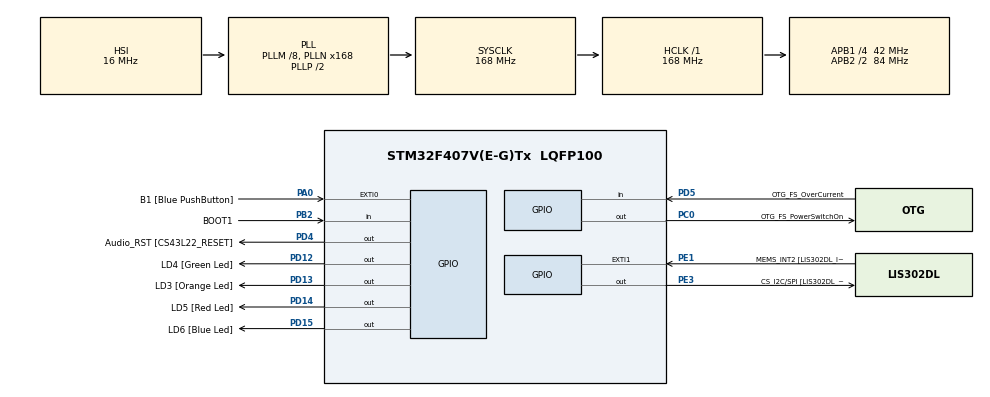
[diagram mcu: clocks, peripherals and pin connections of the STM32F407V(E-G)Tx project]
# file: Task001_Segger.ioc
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Mcu.Family=STM32F4
Mcu.Name=STM32F407V(E-G)Tx
Mcu.Package=LQFP100
NVIC.PriorityGroup=NVIC_PRIORITYGROUP_4
NVIC.TIM6_DAC_IRQn=true\:0\:0\:false\:false\:true\:false\:true\:true
NVIC.TimeBase=TIM6_DAC_IRQn
NVIC.TimeBaseIP=TIM6
PA0-WKUP.GPIO_Label=B1 [Blue PushButton]
PA0-WKUP.Signal=GPXTI0
PA10.GPIO_Label=OTG_FS_ID
PA10.GPIO_Mode=GPIO_MODE_AF_PP
PA10.GPIO_PuPd=GPIO_NOPULL
PA10.GPIO_Speed=GPIO_SPEED_FREQ_LOW
PA10.Signal=USB_OTG_FS_ID
PA11.GPIO_Label=OTG_FS_DM
PA11.GPIO_Mode=GPIO_MODE_AF_PP
PA11.GPIO_PuPd=GPIO_NOPULL
PA11.GPIO_Speed=GPIO_SPEED_FREQ_LOW
PA11.Signal=USB_OTG_FS_DM
PA12.GPIO_Label=OTG_FS_DP
PA12.GPIO_Mode=GPIO_MODE_AF_PP
PA12.GPIO_PuPd=GPIO_NOPULL
PA12.GPIO_Speed=GPIO_SPEED_FREQ_LOW
PA12.Signal=USB_OTG_FS_DP
PA13.GPIO_Label=SWDIO
PA13.Signal=SYS_JTMS-SWDIO
PA14.GPIO_Label=SWCLK
PA14.Signal=SYS_JTCK-SWCLK
PA4.GPIO_Label=I2S3_WS [CS43L22_LRCK]
PA4.GPIO_Mode=GPIO_MODE_AF_PP
PA4.GPIO_PuPd=GPIO_NOPULL
PA4.GPIO_Speed=GPIO_SPEED_FREQ_LOW
PA4.Signal=I2S3_WS
PA5.GPIO_Label=SPI1_SCK [LIS302DL_SCL/SPC]
PA5.GPIO_Mode=GPIO_MODE_AF_PP
PA5.GPIO_PuPd=GPIO_NOPULL
PA5.GPIO_Speed=GPIO_SPEED_FREQ_LOW
PA5.Signal=SPI1_SCK
PA6.GPIO_Label=SPI1_MISO [LIS302DL_SDO]
PA6.GPIO_Mode=GPIO_MODE_AF_PP
PA6.GPIO_PuPd=GPIO_NOPULL
PA6.GPIO_Speed=GPIO_SPEED_FREQ_LOW
PA6.Signal=SPI1_MISO
PA7.GPIO_Label=SPI1_MOSI [LIS302DL_SDA/SDI/SDO]
PA7.GPIO_Mode=GPIO_MODE_AF_PP
PA7.GPIO_PuPd=GPIO_NOPULL
PA7.GPIO_Speed=GPIO_SPEED_FREQ_LOW
PA7.Signal=SPI1_MOSI
PA9.GPIO_Label=VBUS_FS
PA9.GPIO_Mode=GPIO_MODE_INPUT
PA9.GPIO_PuPd=GPIO_NOPULL
PA9.Signal=USB_OTG_FS_VBUS
PB10.GPIO_Label=CLK_IN [MP45DT02_CLK]
PB10.GPIO_Mode=GPIO_MODE_AF_PP
PB10.GPIO_PuPd=GPIO_NOPULL
PB10.GPIO_Speed=GPIO_SPEED_FREQ_LOW
PB10.Signal=I2S2_CK
PB2.GPIO_Label=BOOT1
PB2.GPIO_Mode=GPIO_MODE_INPUT
PB2.GPIO_PuPd=GPIO_NOPULL
PB2.Signal=GPIO_Input
PB3.GPIO_Label=SWO
PB3.Signal=SYS_JTDO-SWO
PB6.GPIO_Label=Audio_SCL [CS43L22_SCL]
PB6.GPIO_Mode=GPIO_MODE_AF_OD
PB6.GPIO_PuPd=GPIO_NOPULL
PB6.GPIO_Speed=GPIO_SPEED_FREQ_LOW
PB6.Signal=I2C1_SCL
PB9.GPIO_Label=Audio_SDA [CS43L22_SDA]
PB9.GPIO_Mode=GPIO_MODE_AF_OD
PB9.GPIO_PuPd=GPIO_NOPULL
PB9.GPIO_Speed=GPIO_SPEED_FREQ_LOW
PB9.Signal=I2C1_SDA
PC0.GPIO_Label=OTG_FS_PowerSwitchOn
PC0.GPIO_PuPd=GPIO_NOPULL
PC0.GPIO_Speed=GPIO_SPEED_FREQ_LOW
PC0.PinState=GPIO_PIN_SET
PC0.Signal=GPIO_Output
PC10.GPIO_Label=I2S3_SCK [CS43L22_SCLK]
PC10.GPIO_Mode=GPIO_MODE_AF_PP
PC10.GPIO_PuPd=GPIO_NOPULL
PC10.GPIO_Speed=GPIO_SPEED_FREQ_LOW
PC10.Signal=I2S3_CK
PC12.GPIO_Label=I2S3_SD [CS43L22_SDIN]
PC12.GPIO_Mode=GPIO_MODE_AF_PP
PC12.GPIO_PuPd=GPIO_NOPULL
PC12.GPIO_Speed=GPIO_SPEED_FREQ_LOW
PC12.Signal=I2S3_SD
PC14-OSC32_IN.GPIO_Label=PC14-OSC32_IN
PC14-OSC32_IN.Signal=RCC_OSC32_IN
PC15-OSC32_OUT.GPIO_Label=PC15-OSC32_OUT
PC15-OSC32_OUT.Signal=RCC_OSC32_OUT
PC3.GPIO_Label=PDM_OUT [MP45DT02_DOUT]
PC3.GPIO_Mode=GPIO_MODE_AF_PP
PC3.GPIO_PuPd=GPIO_NOPULL
PC3.GPIO_Speed=GPIO_SPEED_FREQ_LOW
PC3.Signal=I2S2_SD
PC7.GPIO_Label=I2S3_MCK [CS43L22_MCLK]
PC7.GPIO_Mode=GPIO_MODE_AF_PP
PC7.GPIO_PuPd=GPIO_NOPULL
PC7.GPIO_Speed=GPIO_SPEED_FREQ_LOW
PC7.Signal=I2S3_MCK
PD12.GPIO_Label=LD4 [Green Led]
PD12.GPIO_PuPd=GPIO_NOPULL
PD12.GPIO_Speed=GPIO_SPEED_FREQ_LOW
PD12.Signal=GPIO_Output
PD13.GPIO_Label=LD3 [Orange Led]
PD13.GPIO_PuPd=GPIO_NOPULL
PD13.GPIO_Speed=GPIO_SPEED_FREQ_LOW
PD13.Signal=GPIO_Output
PD14.GPIO_Label=LD5 [Red Led]
PD14.GPIO_PuPd=GPIO_NOPULL
PD14.GPIO_Speed=GPIO_SPEED_FREQ_LOW
PD14.Signal=GPIO_Output
PD15.GPIO_Label=LD6 [Blue Led]
PD15.GPIO_PuPd=GPIO_NOPULL
PD15.GPIO_Speed=GPIO_SPEED_FREQ_LOW
PD15.Signal=GPIO_Output
PD4.GPIO_Label=Audio_RST [CS43L22_RESET]
PD4.GPIO_PuPd=GPIO_NOPULL
PD4.GPIO_Speed=GPIO_SPEED_FREQ_LOW
PD4.Signal=GPIO_Output
PD5.GPIO_Label=OTG_FS_OverCurrent
PD5.GPIO_Mode=GPIO_MODE_INPUT
PD5.GPIO_PuPd=GPIO_NOPULL
PD5.Signal=GPIO_Input
PE1.GPIO_Label=MEMS_INT2 [LIS302DL_INT2]
PE1.GPIO_ModeDefaultEXTI=GPIO_MODE_EVT_RISING
PE1.GPIO_PuPd=GPIO_NOPULL
PE1.Signal=GPXTI1
PE3.GPIO_Label=CS_I2C/SPI [LIS302DL_CS_I2C/SPI]
PE3.GPIO_PuPd=GPIO_NOPULL
PE3.GPIO_Speed=GPIO_SPEED_FREQ_LOW
PE3.Signal=GPIO_Output
PH0-OSC_IN.GPIO_Label=PH0-OSC_IN
PH0-OSC_IN.Signal=RCC_OSC_IN
PH1-OSC_OUT.GPIO_Label=PH1-OSC_OUT
PH1-OSC_OUT.Signal=RCC_OSC_OUT
ProjectManager.HeapSize=0x200
ProjectManager.StackSize=0x400
ProjectManager.TargetToolchain=STM32CubeIDE
RCC.48MHZClocksFreq_Value=48000000
RCC.AHBFreq_Value=168000000
RCC.APB1CLKDivider=RCC_HCLK_DIV4
RCC.APB1Freq_Value=42000000
RCC.APB1TimFreq_Value=84000000
RCC.APB2CLKDivider=RCC_HCLK_DIV2
RCC.APB2Freq_Value=84000000
RCC.APB2TimFreq_Value=168000000
RCC.CortexFreq_Value=168000000
RCC.HCLKFreq_Value=168000000
RCC.HSE_VALUE=8000000
RCC.HSI_VALUE=16000000
RCC.LSE_VALUE=32768
RCC.PLLM=8
RCC.PLLN=168
RCC.PLLQ=7
RCC.SYSCLKFreq_VALUE=168000000
RCC.SYSCLKSource=RCC_SYSCLKSOURCE_PLLCLK
RCC.VCOOutputFreq_Value=336000000
VP_SYS_VS_tim6.Mode=TIM6
board=STM32F407G-DISC1

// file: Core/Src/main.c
/* USER CODE BEGIN Header */
/**
  ******************************************************************************
  * @file           : main.c
  * @brief          : Main program body
  ******************************************************************************
  * @attention
  *
  * Copyright (c) 2024 STMicroelectronics.
  * All rights reserved.
  *
  * This software is licensed under terms that can be found in the LICENSE file
  * in the root directory of this software component.
  * If no LICENSE file comes with this software, it is provided AS-IS.
  *
  ******************************************************************************
  */
/* USER CODE END Header */
#include "main.h"

/* USER CODE BEGIN Includes */
#include <stdio.h>
#include "FreeRTOS.h"
#include "task.h"
/* USER CODE END Includes */

/* USER CODE BEGIN PV */
#define DWT_CTRL (*(volatile uint32_t*)0XE0001000)
/* USER CODE END PV */

void SystemClock_Config(void);
static void MX_GPIO_Init(void);
/* USER CODE BEGIN PFP */
static void task_handler1(void* parameter);
static void task_handler2(void* parameter);

/* USER CODE END PFP */

int main(void)
{
  /* USER CODE BEGIN 1 */
	TaskHandle_t task_handle1;
	TaskHandle_t task_handle2;

	BaseType_t status;

  /* USER CODE END 1 */

  /* MCU Configuration--------------------------------------------------------*/

  /* Reset of all peripherals, Initializes the Flash interface and the Systick. */
  HAL_Init();

  /* Configure the system clock */
  SystemClock_Config();

  /* Initialize all configured peripherals */
  MX_GPIO_Init();
  /* USER CODE BEGIN 2 */

  	DWT_CTRL |=(1<<0);// Enable CYCCNT counter.

  	SEGGER_UART_init(500000);
  	//SEGGER_SYSVIEW_Start();
  	SEGGER_SYSVIEW_Conf();

   status=xTaskCreate(task_handler1, "Task-1", 200, "Task-1 runs", 2, &task_handle1);
   configASSERT(status==pdPASS);
   status=xTaskCreate(task_handler2, "Task-2", 200, "Task-2 runs", 2, &task_handle2);
   configASSERT(status==pdPASS);

	vTaskStartScheduler();//Starts the FreeRTOS Scheduler
	/*
	 * if the code comes here that means
	 * the launch of the scheduler has failed due to insufficient memory
	 */

  /* USER CODE END 2 */

  /* Infinite loop */
  while (1)
  {

  }
}

void SystemClock_Config(void)
{
  RCC_OscInitTypeDef RCC_OscInitStruct = {0};
  RCC_ClkInitTypeDef RCC_ClkInitStruct = {0};

  /** Configure the main internal regulator output voltage
  */
  __HAL_RCC_PWR_CLK_ENABLE();
  __HAL_PWR_VOLTAGESCALING_CONFIG(PWR_REGULATOR_VOLTAGE_SCALE1);

  /** Initializes the RCC Oscillators according to the specified parameters
  * in the RCC_OscInitTypeDef structure.
  */
  RCC_OscInitStruct.OscillatorType = RCC_OSCILLATORTYPE_HSI;
  RCC_OscInitStruct.HSIState = RCC_HSI_ON;
  RCC_OscInitStruct.HSICalibrationValue = RCC_HSICALIBRATION_DEFAULT;
  RCC_OscInitStruct.PLL.PLLState = RCC_PLL_ON;
  RCC_OscInitStruct.PLL.PLLSource = RCC_PLLSOURCE_HSI;
  RCC_OscInitStruct.PLL.PLLM = 8;
  RCC_OscInitStruct.PLL.PLLN = 168;
  RCC_OscInitStruct.PLL.PLLP = RCC_PLLP_DIV2;
  RCC_OscInitStruct.PLL.PLLQ = 7;
  if (HAL_RCC_OscConfig(&RCC_OscInitStruct) != HAL_OK)
  {
    Error_Handler();
  }

  /** Initializes the CPU, AHB and APB buses clocks
  */
  RCC_ClkInitStruct.ClockType = RCC_CLOCKTYPE_HCLK|RCC_CLOCKTYPE_SYSCLK
                              |RCC_CLOCKTYPE_PCLK1|RCC_CLOCKTYPE_PCLK2;
  RCC_ClkInitStruct.SYSCLKSource = RCC_SYSCLKSOURCE_PLLCLK;
  RCC_ClkInitStruct.AHBCLKDivider = RCC_SYSCLK_DIV1;
  RCC_ClkInitStruct.APB1CLKDivider = RCC_HCLK_DIV4;
  RCC_ClkInitStruct.APB2CLKDivider = RCC_HCLK_DIV2;

  if (HAL_RCC_ClockConfig(&RCC_ClkInitStruct, FLASH_LATENCY_5) != HAL_OK)
  {
    Error_Handler();
  }
}

static void MX_GPIO_Init(void)
{
  GPIO_InitTypeDef GPIO_InitStruct = {0};

  /* GPIO Ports Clock Enable */
  __HAL_RCC_GPIOE_CLK_ENABLE();
  __HAL_RCC_GPIOC_CLK_ENABLE();
  __HAL_RCC_GPIOH_CLK_ENABLE();
  __HAL_RCC_GPIOA_CLK_ENABLE();
  __HAL_RCC_GPIOB_CLK_ENABLE();
  __HAL_RCC_GPIOD_CLK_ENABLE();

  /*Configure GPIO pin Output Level */
  HAL_GPIO_WritePin(CS_I2C_SPI_GPIO_Port, CS_I2C_SPI_Pin, GPIO_PIN_RESET);

  /*Configure GPIO pin Output Level */
  HAL_GPIO_WritePin(OTG_FS_PowerSwitchOn_GPIO_Port, OTG_FS_PowerSwitchOn_Pin, GPIO_PIN_SET);

  /*Configure GPIO pin Output Level */
  HAL_GPIO_WritePin(GPIOD, LD4_Pin|LD3_Pin|LD5_Pin|LD6_Pin
                          |Audio_RST_Pin, GPIO_PIN_RESET);

  /*Configure GPIO pin : CS_I2C_SPI_Pin */
  GPIO_InitStruct.Pin = CS_I2C_SPI_Pin;
  GPIO_InitStruct.Mode = GPIO_MODE_OUTPUT_PP;
  GPIO_InitStruct.Pull = GPIO_NOPULL;
  GPIO_InitStruct.Speed = GPIO_SPEED_FREQ_LOW;
  HAL_GPIO_Init(CS_I2C_SPI_GPIO_Port, &GPIO_InitStruct);

  /*Configure GPIO pin : OTG_FS_PowerSwitchOn_Pin */
  GPIO_InitStruct.Pin = OTG_FS_PowerSwitchOn_Pin;
  GPIO_InitStruct.Mode = GPIO_MODE_OUTPUT_PP;
  GPIO_InitStruct.Pull = GPIO_NOPULL;
  GPIO_InitStruct.Speed = GPIO_SPEED_FREQ_LOW;
  HAL_GPIO_Init(OTG_FS_PowerSwitchOn_GPIO_Port, &GPIO_InitStruct);

  /*Configure GPIO pin : PDM_OUT_Pin */
  GPIO_InitStruct.Pin = PDM_OUT_Pin;
  GPIO_InitStruct.Mode = GPIO_MODE_AF_PP;
  GPIO_InitStruct.Pull = GPIO_NOPULL;
  GPIO_InitStruct.Speed = GPIO_SPEED_FREQ_LOW;
  GPIO_InitStruct.Alternate = GPIO_AF5_SPI2;
  HAL_GPIO_Init(PDM_OUT_GPIO_Port, &GPIO_InitStruct);

  /*Configure GPIO pin : B1_Pin */
  GPIO_InitStruct.Pin = B1_Pin;
  GPIO_InitStruct.Mode = GPIO_MODE_IT_RISING;
  GPIO_InitStruct.Pull = GPIO_NOPULL;
  HAL_GPIO_Init(B1_GPIO_Port, &GPIO_InitStruct);

  /*Configure GPIO pin : I2S3_WS_Pin */
  GPIO_InitStruct.Pin = I2S3_WS_Pin;
  GPIO_InitStruct.Mode = GPIO_MODE_AF_PP;
  GPIO_InitStruct.Pull = GPIO_NOPULL;
  GPIO_InitStruct.Speed = GPIO_SPEED_FREQ_LOW;
  GPIO_InitStruct.Alternate = GPIO_AF6_SPI3;
  HAL_GPIO_Init(I2S3_WS_GPIO_Port, &GPIO_InitStruct);

  /*Configure GPIO pins : SPI1_SCK_Pin SPI1_MISO_Pin SPI1_MOSI_Pin */
  GPIO_InitStruct.Pin = SPI1_SCK_Pin|SPI1_MISO_Pin|SPI1_MOSI_Pin;
  GPIO_InitStruct.Mode = GPIO_MODE_AF_PP;
  GPIO_InitStruct.Pull = GPIO_NOPULL;
  GPIO_InitStruct.Speed = GPIO_SPEED_FREQ_LOW;
  GPIO_InitStruct.Alternate = GPIO_AF5_SPI1;
  HAL_GPIO_Init(GPIOA, &GPIO_InitStruct);

  /*Configure GPIO pin : BOOT1_Pin */
  GPIO_InitStruct.Pin = BOOT1_Pin;
  GPIO_InitStruct.Mode = GPIO_MODE_INPUT;
  GPIO_InitStruct.Pull = GPIO_NOPULL;
  HAL_GPIO_Init(BOOT1_GPIO_Port, &GPIO_InitStruct);

  /*Configure GPIO pin : CLK_IN_Pin */
  GPIO_InitStruct.Pin = CLK_IN_Pin;
  GPIO_InitStruct.Mode = GPIO_MODE_AF_PP;
  GPIO_InitStruct.Pull = GPIO_NOPULL;
  GPIO_InitStruct.Speed = GPIO_SPEED_FREQ_LOW;
  GPIO_InitStruct.Alternate = GPIO_AF5_SPI2;
  HAL_GPIO_Init(CLK_IN_GPIO_Port, &GPIO_InitStruct);

  /*Configure GPIO pins : LD4_Pin LD3_Pin LD5_Pin LD6_Pin
                           Audio_RST_Pin */
  GPIO_InitStruct.Pin = LD4_Pin|LD3_Pin|LD5_Pin|LD6_Pin
                          |Audio_RST_Pin;
  GPIO_InitStruct.Mode = GPIO_MODE_OUTPUT_PP;
  GPIO_InitStruct.Pull = GPIO_NOPULL;
  GPIO_InitStruct.Speed = GPIO_SPEED_FREQ_LOW;
  HAL_GPIO_Init(GPIOD, &GPIO_InitStruct);

  /*Configure GPIO pins : I2S3_MCK_Pin I2S3_SCK_Pin I2S3_SD_Pin */
  GPIO_InitStruct.Pin = I2S3_MCK_Pin|I2S3_SCK_Pin|I2S3_SD_Pin;
  GPIO_InitStruct.Mode = GPIO_MODE_AF_PP;
  GPIO_InitStruct.Pull = GPIO_NOPULL;
  GPIO_InitStruct.Speed = GPIO_SPEED_FREQ_LOW;
  GPIO_InitStruct.Alternate = GPIO_AF6_SPI3;
  HAL_GPIO_Init(GPIOC, &GPIO_InitStruct);

  /*Configure GPIO pin : VBUS_FS_Pin */
  GPIO_InitStruct.Pin = VBUS_FS_Pin;
  GPIO_InitStruct.Mode = GPIO_MODE_INPUT;
  GPIO_InitStruct.Pull = GPIO_NOPULL;
  HAL_GPIO_Init(VBUS_FS_GPIO_Port, &GPIO_InitStruct);

  /*Configure GPIO pins : OTG_FS_ID_Pin OTG_FS_DM_Pin OTG_FS_DP_Pin */
  GPIO_InitStruct.Pin = OTG_FS_ID_Pin|OTG_FS_DM_Pin|OTG_FS_DP_Pin;
  GPIO_InitStruct.Mode = GPIO_MODE_AF_PP;
  GPIO_InitStruct.Pull = GPIO_NOPULL;
  GPIO_InitStruct.Speed = GPIO_SPEED_FREQ_LOW;
  GPIO_InitStruct.Alternate = GPIO_AF10_OTG_FS;
  HAL_GPIO_Init(GPIOA, &GPIO_InitStruct);

  /*Configure GPIO pin : OTG_FS_OverCurrent_Pin */
  GPIO_InitStruct.Pin = OTG_FS_OverCurrent_Pin;
  GPIO_InitStruct.Mode = GPIO_MODE_INPUT;
  GPIO_InitStruct.Pull = GPIO_NOPULL;
  HAL_GPIO_Init(OTG_FS_OverCurrent_GPIO_Port, &GPIO_InitStruct);

  /*Configure GPIO pins : Audio_SCL_Pin Audio_SDA_Pin */
  GPIO_InitStruct.Pin = Audio_SCL_Pin|Audio_SDA_Pin;
  GPIO_InitStruct.Mode = GPIO_MODE_AF_OD;
  GPIO_InitStruct.Pull = GPIO_NOPULL;
  GPIO_InitStruct.Speed = GPIO_SPEED_FREQ_LOW;
  GPIO_InitStruct.Alternate = GPIO_AF4_I2C1;
  HAL_GPIO_Init(GPIOB, &GPIO_InitStruct);

  /*Configure GPIO pin : MEMS_INT2_Pin */
  GPIO_InitStruct.Pin = MEMS_INT2_Pin;
  GPIO_InitStruct.Mode = GPIO_MODE_EVT_RISING;
  GPIO_InitStruct.Pull = GPIO_NOPULL;
  HAL_GPIO_Init(MEMS_INT2_GPIO_Port, &GPIO_InitStruct);

}

/* USER CODE BEGIN 4 */
static void task_handler1(void* parameter)
{
	char msg[50] ;
	while(1)
	{
		snprintf(msg,100,"%s\n",(char*)parameter);
		SEGGER_SYSVIEW_PrintfTarget(msg);
		//taskYIELD();
	}
}

static void task_handler2(void* parameter)
{
	char msg[50] ;
	while(1)
	{
		snprintf(msg,100,"%s\n",(char*)parameter);
		SEGGER_SYSVIEW_PrintfTarget(msg);
		//taskYIELD();
	}
}
/* USER CODE END 4 */

void HAL_TIM_PeriodElapsedCallback(TIM_HandleTypeDef *htim)
{
  if (htim->Instance == TIM6) {
    HAL_IncTick();
  }
}

void Error_Handler(void)
{
  __disable_irq();
  while (1)
  {
  }
}
